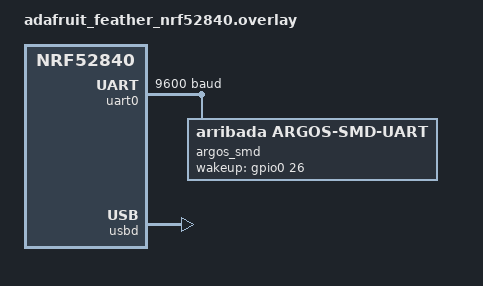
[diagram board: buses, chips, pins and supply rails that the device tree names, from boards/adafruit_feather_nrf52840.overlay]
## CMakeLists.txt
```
cmake_minimum_required(VERSION 3.20)
find_package(Zephyr REQUIRED HINTS $ENV{ZEPHYR_BASE})
project(app LANGUAGES C)

target_sources(app PRIVATE src/main.c)
```

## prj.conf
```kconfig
CONFIG_USB_DEVICE_STACK_NEXT=y

CONFIG_SERIAL=y
CONFIG_UART_LINE_CTRL=y
CONFIG_USBD_CDC_ACM_CLASS=y
CONFIG_CDC_ACM_SERIAL_INITIALIZE_AT_BOOT=n
CONFIG_CDC_ACM_SERIAL_ENABLE_AT_BOOT=y
CONFIG_CDC_ACM_SERIAL_INITIALIZE_AT_BOOT=y

CONFIG_LOG_BACKEND_UART=y
CONFIG_UART_CONSOLE=y

CONFIG_USE_SEGGER_RTT=y
CONFIG_LOG_BACKEND_RTT=y
CONFIG_RTT_CONSOLE=y

CONFIG_LOG=y
CONFIG_LOG_BUFFER_SIZE=4096
CONFIG_SEGGER_RTT_BUFFER_SIZE_UP=4096
CONFIG_USBD_LOG_LEVEL_ERR=y
CONFIG_UDC_DRIVER_LOG_LEVEL_ERR=y
CONFIG_USBD_CDC_ACM_LOG_LEVEL_OFF=y

CONFIG_ARGOS_SMD_LOG_LEVEL_DBG=y

CONFIG_DEBUG_THREAD_INFO=y
CONFIG_DEBUG=y

CONFIG_UART_INTERRUPT_DRIVEN=y
CONFIG_ARGOS_SMD=y

CONFIG_MAIN_STACK_SIZE=4098

CONFIG_UDC_BUF_POOL_SIZE=8192
CONFIG_UDC_BUF_COUNT=32
```

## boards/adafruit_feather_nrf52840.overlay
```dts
#include <zephyr/dt-bindings/gpio/gpio.h>

/ {
    chosen {
	   	zephyr,console = &cdc_acm_uart;
		/delete-property/ zephyr,shell-uart;
		/delete-property/ zephyr,uart-mcumgr;
		/delete-property/ zephyr,bt-mon-uart;
		/delete-property/ zephyr,bt-c2h-uart;
    };
};


&uart0 {
    status = "okay";
    current-speed = <9600>;

    argos_smd {
        compatible = "arribada,argos-smd-uart";

        /*
         * Wake-up line for the STM32WL55 SHUTDOWN low-power mode.
         *
         * In SHUTDOWN the STM32WL powers down its whole VCORE domain: the UART
         * (and SPI) are dead and the module can ONLY be woken by a rising edge
         * on WKUP3 = STM32 PB3, by NRST, or by its internal RTC. The Kineis
         * firmware arms WKUP3/PB3 on a rising edge, so the host must drive this
         * pin HIGH before talking to a module that may be in SHUTDOWN.
         *
         * Required wiring:  Feather D9 (P0.26)  ->  STM32 PB3 / WKUP3
         *
         * The sample calls argos_smd_wakeup_enable() (drives this pin HIGH)
         * before communicating and argos_smd_wakeup_disable() (LOW) when done.
         */
        wakeup-gpios = <&gpio0 26 GPIO_ACTIVE_HIGH>;
    };
};

zephyr_udc0: &usbd {
	compatible = "nordic,nrf-usbd";
	status = "okay";
	cdc_acm_uart: cdc_acm_uart0 {
		compatible = "zephyr,cdc-acm-uart";
		label = "CDC_ACM";
	};
};
```

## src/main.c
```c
#include "zephyr/sys/__assert.h"
#include <zephyr/kernel.h>
#include <zephyr/logging/log.h>
#include <stdio.h>
#include <errno.h>
#include <string.h>

#include <argos-smd/argos_smd.h>

LOG_MODULE_REGISTER(main, CONFIG_APP_LOG_LEVEL);

BUILD_ASSERT(DT_NODE_HAS_COMPAT(DT_CHOSEN(zephyr_console), zephyr_cdc_acm_uart),
	     "Console device is not ACM CDC UART device");

#define RESPONSE_BUFFER_SIZE 128
K_MSGQ_DEFINE(response_msgq, RESPONSE_BUFFER_SIZE, 10, 1);

void read_callback(const char *response, void *user_data)
{
	ARG_UNUSED(user_data);

	/* Driver filters non-AT lines, so we only receive AT responses here */
	char out[RESPONSE_BUFFER_SIZE];
	strcpy(out, response);

	int ret = k_msgq_put(&response_msgq, out, K_NO_WAIT);
	if (ret != 0) {
		LOG_ERR("Queue full! Lost response: %s", response);
	}
	/* Note: Driver already logs "Driver RX complete: [...]" at DBG level */
}

/**
 * @brief Get next response from queue, optionally skipping unwanted responses
 * @param out Output buffer for response
 * @param expected_prefix Expected prefix (e.g., "+RCONF="), or NULL to accept any
 * @param timeout Timeout for waiting
 * @return 0 on success, negative on error
 */
static int get_response(char *out, const char *expected_prefix, k_timeout_t timeout)
{
	while (1) {
		int ret = k_msgq_get(&response_msgq, out, timeout);
		if (ret != 0) {
			return ret;
		}

		size_t len = strlen(out);

		/* Skip echo responses ending with '?' (e.g., +PING=?, +ADDR=?) */
		if (len > 0 && out[len - 1] == '?') {
			LOG_WRN("Skipping echo response: %s", out);
			continue;
		}

		/* If specific prefix expected, check for match FIRST (before +OK).
		 * This prevents +OK from being returned as "data" when the real
		 * data response was lost due to debug log interleaving on STM32.
		 */
		if (expected_prefix != NULL) {
			size_t prefix_len = strlen(expected_prefix);
			/* If prefix ends with '=', also accept response without '=' */
			if (prefix_len > 0 && expected_prefix[prefix_len - 1] == '=') {
				/* Check with '=' (e.g., "+ADDR=xxx") */
				if (strncmp(out, expected_prefix, prefix_len) == 0) {
					return 0;
				}
				/* Check without '=' (e.g., "+ADDR") */
				if (strncmp(out, expected_prefix, prefix_len - 1) == 0 &&
				    (out[prefix_len - 1] == '\0' || out[prefix_len - 1] == '\r' || out[prefix_len - 1] == '\n')) {
					return 0;
				}
			} else {
				/* No '=' in prefix, exact prefix match */
				if (strncmp(out, expected_prefix, prefix_len) == 0) {
					return 0;
				}
			}
		}

		/* Accept +OK and +ERROR as valid terminal responses */
		if (strcmp(out, "+OK") == 0 || strncmp(out, "+ERROR=", 7) == 0) {
			return 0;
		}

		/* Handle asynchronous TX notifications (can arrive anytime) */
		if (strncmp(out, "+TX=", 4) == 0) {
			/* If we're specifically waiting for +TX, return it */
			if (expected_prefix != NULL && strncmp(expected_prefix, "+TX=", 4) == 0) {
				return 0;
			}
			/* Otherwise, log it and continue waiting */
			LOG_INF("Async TX notification: %s", out);
			continue;
		}

		/* If no specific prefix expected, accept any response starting with '+' */
		if (expected_prefix == NULL && out[0] == '+') {
			return 0;
		}

		/* Skip unexpected responses */
		LOG_WRN("Skipping unexpected response: %s", out);
	}
}

/**
 * @brief Wait for +OK response, consuming any intermediate responses
 */
static int wait_for_ok(void)
{
	char out[RESPONSE_BUFFER_SIZE];

	while (1) {
		int ret = k_msgq_get(&response_msgq, out, K_FOREVER);
		if (ret != 0) {
			return ret;
		}

		if (strcmp(out, "+OK") == 0) {
			return 0;
		}

		if (strncmp(out, "+ERROR=", 7) == 0) {
			LOG_ERR("Device returned error: %s", out);
			return -EIO;
		}

		/* Handle asynchronous TX notifications */
		if (strncmp(out, "+TX=", 4) == 0) {
			LOG_INF("Async TX notification: %s", out);
			continue;  /* Continue waiting for +OK */
		}

		/* Log but continue waiting for +OK */
		LOG_DBG("Skipping intermediate response: %s", out);
	}
}

int main(void)

{
	char out[RESPONSE_BUFFER_SIZE];

	const struct device *dev_smd = DEVICE_DT_GET_ONE(arribada_argos_smd_uart);

	LOG_INF("Zephyr SMD Read and Write Sample");

	argos_smd_set_callback(dev_smd, read_callback, NULL);

	/* Enable wakeup pin to communicate with the module */
	int ret = argos_smd_wakeup_enable(dev_smd);
	if (ret == 0) {
		LOG_INF("Wakeup pin enabled");
		/*
		 * Exiting STM32WL55 SHUTDOWN via WKUP3/PB3 is a cold boot: the
		 * module resets and re-runs its firmware before its UART is
		 * ready. Give it time to boot before sending the first command,
		 * otherwise the ping is sent into a module that is still booting
		 * and is lost.
		 */
		k_msleep(500);
	} else if (ret == -ENOTSUP) {
		LOG_INF("No wakeup pin configured, continuing...");
	}

	/////////////////////////////////////////////////
	/* Test 1: Ping */
	/////////////////////////////////////////////////

	LOG_INF("Test 1: Ping device");
	argos_read_ping(dev_smd);

	/* Wait for +OK (auto-skip echo like +PING=?) */
	if (wait_for_ok() != 0) {
		LOG_ERR("Ping failed");
	} else {
		LOG_INF("Ping: OK");
	}

	/////////////////////////////////////////////////
	/* Test 2: Read radio configuration */
	/////////////////////////////////////////////////

	LOG_INF("Test 2: Read radio configuration");
	argos_read_radioconf(dev_smd);

	/* Get +RCONF=<data> response */
	if (get_response(out, "+RCONF=", K_FOREVER) == 0) {
		LOG_INF("RCONF: %s", out);
	} else {
		LOG_ERR("Failed to get RCONF response");
	}

	/* Wait for +OK */
	if (wait_for_ok() != 0) {
		LOG_ERR("RCONF command failed");
	}

	/////////////////////////////////////////////////
	/* Test 3: Read raw radio configuration */
	/////////////////////////////////////////////////

	LOG_INF("Test 3: Read raw radio configuration");
	argos_read_radioconf_raw(dev_smd);

	/* Get +RCONFRAW=<data> response or +ERROR if not supported */
	if (get_response(out, "+RCONFRAW=", K_FOREVER) == 0) {
		LOG_INF("RCONFRAW: %s", out);
	} else  {
		LOG_WRN("RCONFRAW failed: %s", out);
	}

	/* Wait for +OK */
	if (wait_for_ok() != 0) {
		LOG_ERR("RCONF command failed");
	}

	/////////////////////////////////////////////////
	/* Test 4: Set and read address */
	/////////////////////////////////////////////////

	LOG_INF("Test 4: Set address to ABCDEF01");
	argos_set_address(dev_smd, "ABCDEF01");

	if (wait_for_ok() != 0) {
		LOG_ERR("Set address failed");
	}

	LOG_INF("Test 5: Read address back");
	argos_read_address(dev_smd);

	/* Get +ADDR=<data> response (auto-skip echo like +ADDR=?) */
	if (get_response(out, "+ADDR=", K_FOREVER) == 0) {
		LOG_INF("Address: %s", out);
		/* Note: Address might be in different case, don't do strict comparison */
		if (strstr(out, "ABCDEF01") != NULL || strstr(out, "abcdef01") != NULL) {
			LOG_INF("Address matches!");
		} else {
			LOG_WRN("Address mismatch (might need manual verification): %s", out);
		}
	}

	/* Wait for +OK */
	wait_for_ok();

	/////////////////////////////////////////////////
	/* Test 6: Send payload */
	/////////////////////////////////////////////////

	LOG_INF("Test 6: Send payload FFFFFFFF");
	char msg[9] = "FFFFFFFF";
	argos_send_payload(dev_smd, msg);

	/* Wait for +OK */
	if (wait_for_ok() != 0) {
		LOG_ERR("Send payload failed");
	}

	/* Get +TX=<status>,<data> notification */
	if (get_response(out, "+TX=", K_FOREVER) == 0) {
		LOG_INF("TX result: %s", out);
		if (strncmp(out, "+TX=0", 5) == 0) {
			LOG_INF("TX success!");
		} else {
			LOG_WRN("TX status: %s", out);
		}
	}

	/////////////////////////////////////////////////

	/* Disable wakeup pin when done communicating */
	ret = argos_smd_wakeup_disable(dev_smd);
	if (ret == 0) {
		LOG_INF("Wakeup pin disabled, module can enter low power mode");
	}

	LOG_INF("Done");

	return 0;
}
```
